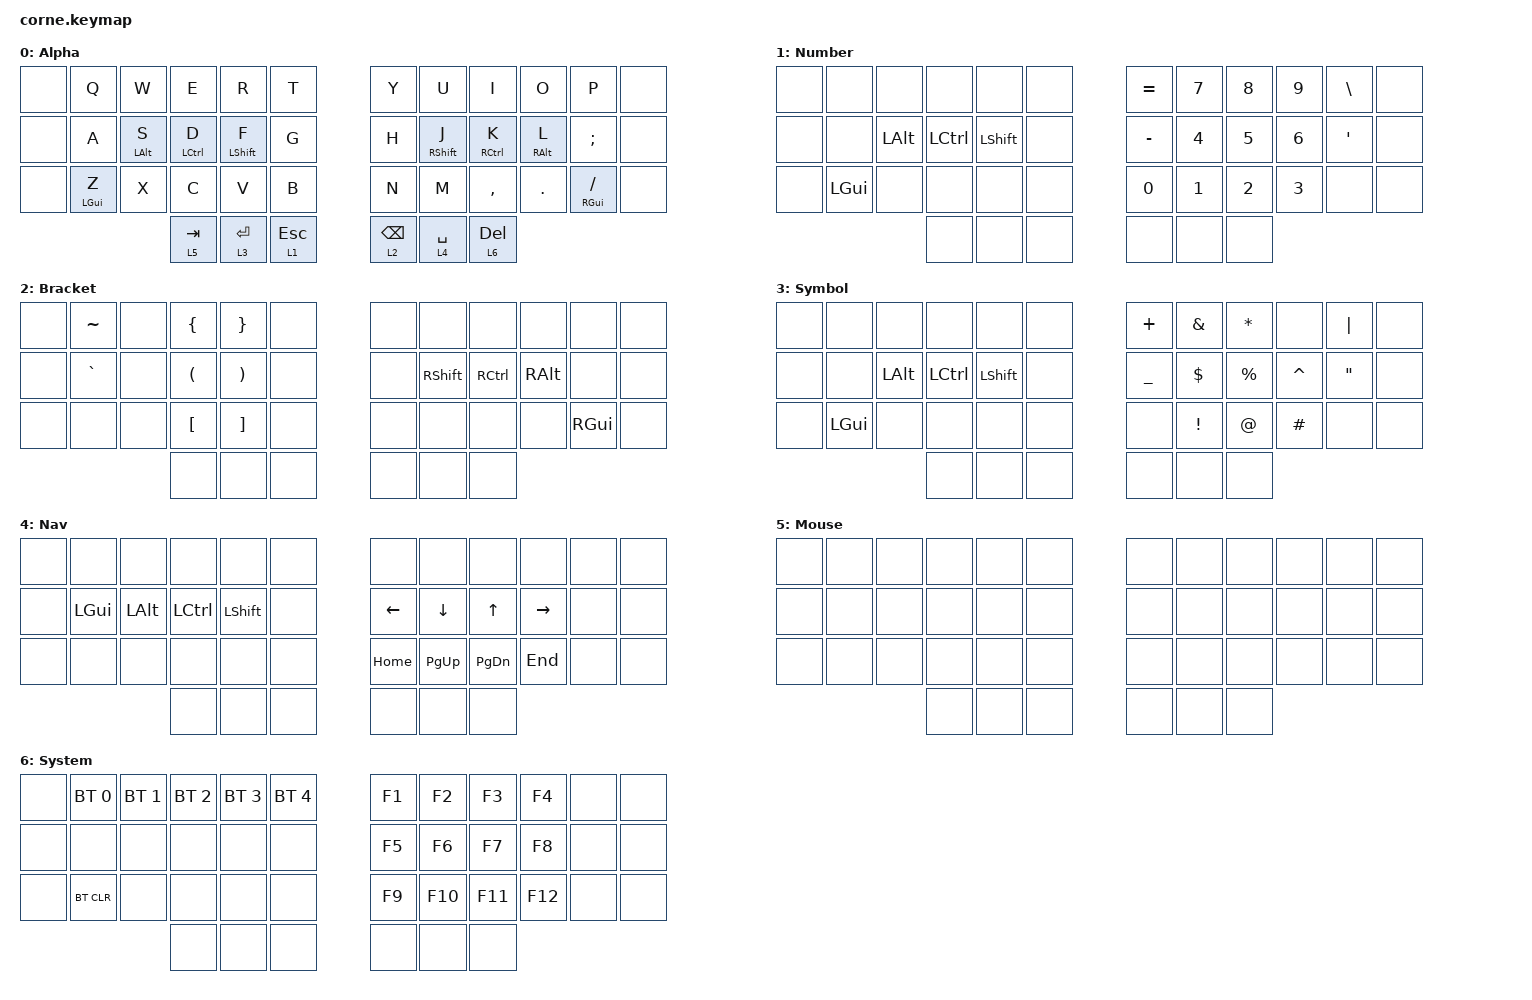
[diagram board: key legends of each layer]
/*
 * Copyright (c) 2020 The ZMK Contributors
 *
 * SPDX-License-Identifier: MIT
 */

#include <behaviors.dtsi>
#include <dt-bindings/zmk/keys.h>
#include <dt-bindings/zmk/bt.h>

/ {
    behaviors {
        hrm: home_row_mod {
            compatible = "zmk,behavior-hold-tap";
            label = "HRM";
            #binding-cells = <2>;

            flavor = "balanced";
            tapping-term-ms = <280>;
            quick-tap-ms = <175>;
            require-prior-idle-ms = <150>;

            bindings = <&kp>, <&kp>;
        };

        hrs: hrm_shift {
            compatible = "zmk,behavior-hold-tap";
            #binding-cells = <2>;
            flavor = "balanced";
            tapping-term-ms = <200>;
            quick-tap-ms = <150>;
            require-prior-idle-ms = <120>;
            bindings = <&kp>, <&kp>;
        };
    };

    combos {
        compatible = "zmk,combos";

        combo_caps_word {
            timeout-ms = <50>;
            key-positions = <16 19>;
            bindings = <&caps_word>;
        };
    };


        keymap {
                compatible = "zmk,keymap";

                default_layer {
                        display-name = "Alpha";
                        bindings = <
   &none &kp Q       &kp W       &kp E        &kp R        &kp T          &kp Y &kp U        &kp I        &kp O         &kp P          &none
   &none &kp A       &hrm LALT S &hrm LCTRL D &hrs LSHFT F &kp G          &kp H &hrs RSHFT J &hrm RCTRL K &hrm RALT L   &kp SEMI       &none
   &none &hrm LGUI Z &kp X       &kp C        &kp V        &kp B          &kp N &kp M        &kp COMMA    &kp DOT       &hrm RGUI FSLH &none
                                        &lt 5 TAB &lt 3 RET &lt 1 ESC     &lt 2 BSPC &lt 4 SPACE &lt 6 DEL
                        >;
                };
                number_layer {
                        display-name = "Number";
                        bindings = <
   &none &none    &none    &none     &none     &none           &kp EQUAL  &kp N7 &kp N8 &kp N9 &kp BSLH &none 
   &none &none    &kp LALT &kp LCTRL &kp LSHFT &none           &kp MINUS  &kp N4 &kp N5 &kp N6 &kp SQT  &none 
   &none &kp LGUI &none    &none     &none     &none           &kp N0     &kp N1 &kp N2 &kp N3 &none    &none 
                     &none &none &none           &none &none &none
                        >;
                };

                bracket_layer {
                        display-name = "Bracket";
                        bindings = <
   &none    &kp TILDE    &none    &kp LBRC    &kp RBRC    &none           &none    &none     &none     &none    &none    &none 
   &none    &kp GRAVE    &none    &kp LPAR    &kp RPAR    &none           &none    &kp RSHFT &kp RCTRL &kp RALT &none    &none 
   &none    &none        &none    &kp LBKT    &kp RBKT    &none           &none    &none     &none     &none    &kp RGUI &none 
                     &none &none &none           &none &none &none
                        >;
                };

                symbol_layer {
                    display-name = "Symbol";
                    bindings = <
                &none &none    &none    &none     &none     &none           &kp PLUS   &kp AMPS  &kp ASTRK    &none     &kp PIPE  &none
                &none &none    &kp LALT &kp LCTRL &kp LSHFT &none           &kp UNDER  &kp DLLR  &kp PRCNT    &kp CARET &kp DQT   &none
                &none &kp LGUI &none    &none     &none     &none           &none      &kp EXCL  &kp AT       &kp HASH  &none     &none
                                 &none &none &none           &none &none &none
                    >;
                };


                nav_layer {
                        display-name = "Nav";
                        bindings = <
   &none    &none    &none    &none     &none     &none           &none    &none     &none     &none     &none   &none 
   &none    &kp LGUI &kp LALT &kp LCTRL &kp LSHFT &none           &kp LEFT &kp DOWN  &kp UP    &kp RIGHT &none   &none 
   &none    &none    &none    &none     &none     &none           &kp HOME &kp PG_UP &kp PG_DN &kp END   &none   &none 
                     &none &none &none           &none &none &none
                        >;
                };

                mouse_layer {
                        display-name = "Mouse";
                        bindings = <
   &none    &none    &none    &none    &none    &none           &none    &none    &none    &none    &none    &none 
   &none    &none    &none    &none    &none    &none           &none    &none    &none    &none    &none    &none 
   &none    &none    &none    &none    &none    &none           &none    &none    &none    &none    &none    &none 
                     &none &none &none           &none &none &none
                        >;
                };

                adjust_layer {
                        display-name = "System";
                        bindings = <
   &none    &bt BT_SEL 0 &bt BT_SEL 1 &bt BT_SEL 2 &bt BT_SEL 3 &bt BT_SEL 4       &kp F1    &kp F2     &kp F3     &kp F4    &none    &none  
   &none    &none        &none        &none        &none        &none              &kp F5    &kp F6     &kp F7     &kp F8    &none    &none  
   &none    &bt BT_CLR   &none        &none        &none        &none              &kp F9    &kp F10    &kp F11    &kp F12    &none    &none 
                     &none &none &none           &none &none &none
                        >;
                };
        };
};
